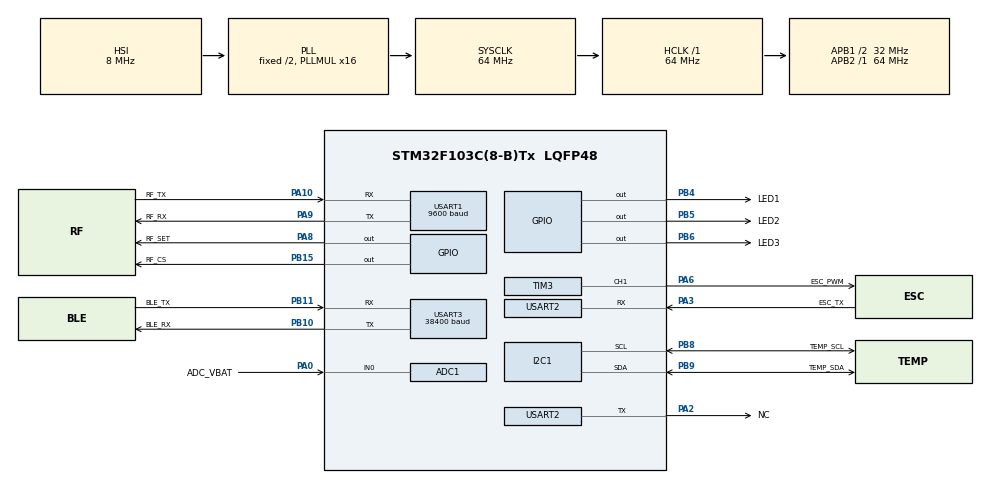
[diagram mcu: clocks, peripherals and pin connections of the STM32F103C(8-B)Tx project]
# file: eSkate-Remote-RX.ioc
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ADC1.Channel-0\#ChannelRegularConversion=ADC_CHANNEL_0
ADC1.ContinuousConvMode=DISABLE
ADC1.ExternalTrigConv=ADC_SOFTWARE_START
ADC1.NbrOfConversionFlag=1
ADC1.Rank-0\#ChannelRegularConversion=1
ADC1.SamplingTime-0\#ChannelRegularConversion=ADC_SAMPLETIME_55CYCLES_5
ADC1.master=1
Dma.Request0=USART3_TX
Dma.USART3_TX.0.Direction=DMA_MEMORY_TO_PERIPH
Dma.USART3_TX.0.Instance=DMA1_Channel2
Dma.USART3_TX.0.MemDataAlignment=DMA_MDATAALIGN_BYTE
Dma.USART3_TX.0.MemInc=DMA_MINC_ENABLE
Dma.USART3_TX.0.Mode=DMA_NORMAL
Dma.USART3_TX.0.PeriphDataAlignment=DMA_PDATAALIGN_BYTE
Dma.USART3_TX.0.PeriphInc=DMA_PINC_DISABLE
Dma.USART3_TX.0.Priority=DMA_PRIORITY_MEDIUM
FREERTOS.Queues01=adcQueue,1,uint16_t,0,Dynamic,NULL,NULL
FREERTOS.Tasks01=defaultTask,24,512,StartDefaultTask,Default,NULL,Dynamic,NULL,NULL;bluetoothTask,24,512,StartBluetoothTask,Default,NULL,Dynamic,NULL,NULL;radioTask,24,128,StartRadioTask,Default,NULL,Dynamic,NULL,NULL;telemetryTask,24,128,StartTelemetryTask,Default,NULL,Dynamic,NULL,NULL;i2cTask,24,128,StartI2cTask,Default,NULL,Dynamic,NULL,NULL;adcTask,24,256,StartAdcTask,Default,NULL,Dynamic,NULL,NULL
FREERTOS.configMAX_PRIORITIES=56
FREERTOS.configTOTAL_HEAP_SIZE=8192
FREERTOS.configUSE_PREEMPTION=1
FREERTOS.configUSE_STATS_FORMATTING_FUNCTIONS=1
FREERTOS.configUSE_TASK_NOTIFICATIONS=1
Mcu.Family=STM32F1
Mcu.Name=STM32F103C(8-B)Tx
Mcu.Package=LQFP48
NVIC.ADC1_2_IRQn=true\:5\:0\:false\:false\:true\:true\:true\:true
NVIC.DMA1_Channel2_IRQn=true\:5\:0\:false\:false\:true\:true\:false\:true
NVIC.PriorityGroup=NVIC_PRIORITYGROUP_4
NVIC.TIM1_UP_IRQn=true\:0\:0\:false\:false\:true\:false\:false\:true
NVIC.TimeBase=TIM1_UP_IRQn
NVIC.TimeBaseIP=TIM1
NVIC.USART3_IRQn=true\:5\:0\:false\:false\:true\:true\:true\:true
PA0-WKUP.GPIO_Label=ADC_VBAT
PA0-WKUP.Signal=ADCx_IN0
PA10.GPIO_Label=RF_TX
PA10.Mode=Asynchronous
PA10.Signal=USART1_RX
PA13.Mode=Serial_Wire
PA13.Signal=SYS_JTMS-SWDIO
PA14.Mode=Serial_Wire
PA14.Signal=SYS_JTCK-SWCLK
PA2.GPIO_Label=NC
PA2.Mode=Asynchronous
PA2.Signal=USART2_TX
PA3.GPIO_Label=ESC_TX
PA3.Mode=Asynchronous
PA3.Signal=USART2_RX
PA6.GPIO_Label=ESC_PWM
PA6.Signal=S_TIM3_CH1
PA8.GPIO_Label=RF_SET
PA8.Signal=GPIO_Output
PA9.GPIO_Label=RF_RX
PA9.Mode=Asynchronous
PA9.Signal=USART1_TX
PB10.GPIO_Label=BLE_RX
PB10.Mode=Asynchronous
PB10.Signal=USART3_TX
PB11.GPIO_Label=BLE_TX
PB11.Mode=Asynchronous
PB11.Signal=USART3_RX
PB15.GPIO_Label=RF_CS
PB15.Signal=GPIO_Output
PB4.GPIO_Label=LED1
PB4.Signal=GPIO_Output
PB5.GPIO_Label=LED2
PB5.Signal=GPIO_Output
PB6.GPIO_Label=LED3
PB6.Signal=GPIO_Output
PB8.GPIO_Label=TEMP_SCL
PB8.Mode=I2C
PB8.Signal=I2C1_SCL
PB9.GPIO_Label=TEMP_SDA
PB9.Mode=I2C
PB9.Signal=I2C1_SDA
ProjectManager.HeapSize=0x200
ProjectManager.StackSize=0x400
ProjectManager.TargetToolchain=STM32CubeIDE
RCC.ADCPresc=RCC_ADCPCLK2_DIV8
RCC.AHBFreq_Value=64000000
RCC.APB1CLKDivider=RCC_HCLK_DIV2
RCC.APB1Freq_Value=32000000
RCC.APB1TimFreq_Value=64000000
RCC.APB2Freq_Value=64000000
RCC.APB2TimFreq_Value=64000000
RCC.HCLKFreq_Value=64000000
RCC.PLLMUL=RCC_PLL_MUL16
RCC.SYSCLKFreq_VALUE=64000000
RCC.SYSCLKSource=RCC_SYSCLKSOURCE_PLLCLK
RCC.USBFreq_Value=64000000
SH.ADCx_IN0.0=ADC1_IN0,IN0
SH.S_TIM3_CH1.0=TIM3_CH1,PWM Generation1 CH1
TIM3.Channel-PWM\ Generation1\ CH1=TIM_CHANNEL_1
USART1.BaudRate=9600
USART1.VirtualMode=VM_ASYNC
USART1.WordLength=WORDLENGTH_8B
USART2.VirtualMode=VM_ASYNC
USART3.BaudRate=38400
USART3.VirtualMode=VM_ASYNC
VP_CRC_VS_CRC.Mode=CRC_Activate
VP_FREERTOS_VS_CMSIS_V2.Mode=CMSIS_V2
VP_SYS_VS_tim1.Mode=TIM1
VP_TIM3_VS_ClockSourceINT.Mode=Internal
board=eSkate-Remote-RX

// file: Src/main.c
/* USER CODE BEGIN Header */
/**
  ******************************************************************************
  * @file           : main.c
  * @brief          : Main program body
  ******************************************************************************
  * @attention
  *
  * <h2><center>&copy; Copyright (c) 2019 STMicroelectronics.
  * All rights reserved.</center></h2>
  *
  * This software component is licensed by ST under BSD 3-Clause license,
  * the "License"; You may not use this file except in compliance with the
  * License. You may obtain a copy of the License at:
  *                        opensource.org/licenses/BSD-3-Clause
  *
  ******************************************************************************
  */
/* USER CODE END Header */

#include "main.h"
#include "cmsis_os.h"

/* USER CODE BEGIN Includes */

#include "MLT-BT05.h"
#include "JDY40.h"
#include "queue.h"
#include "task.h"

#include <string.h>
#include <stdio.h>

#define __PWR_LED_ON		HAL_GPIO_WritePin(LED1_GPIO_Port, LED1_Pin, GPIO_PIN_SET)
#define __PWR_LED_OFF		HAL_GPIO_WritePin(LED1_GPIO_Port, LED1_Pin, GPIO_PIN_RESET)
#define __BLE_LED_ON		HAL_GPIO_WritePin(LED3_GPIO_Port, LED3_Pin, GPIO_PIN_SET)
#define __BLE_LED_OFF		HAL_GPIO_WritePin(LED3_GPIO_Port, LED3_Pin, GPIO_PIN_RESET)
#define __BLE_LED_TOGGLE	HAL_GPIO_TogglePin(LED3_GPIO_Port, LED3_Pin)
#define __RC_LED_ON			HAL_GPIO_WritePin(LED2_GPIO_Port, LED2_Pin, GPIO_PIN_SET)
#define __RC_LED_OFF		HAL_GPIO_WritePin(LED2_GPIO_Port, LED2_Pin, GPIO_PIN_RESET)
#define __RC_LED_TOGGLE		HAL_GPIO_TogglePin(LED2_GPIO_Port, LED2_Pin)

#define SOFTWARE_DEBUG

/* USER CODE END Includes */

ADC_HandleTypeDef hadc1;

CRC_HandleTypeDef hcrc;

I2C_HandleTypeDef hi2c1;

TIM_HandleTypeDef htim3;

UART_HandleTypeDef huart1;
UART_HandleTypeDef huart2;
UART_HandleTypeDef huart3;
DMA_HandleTypeDef hdma_usart3_tx;

/* Definitions for defaultTask */
osThreadId_t defaultTaskHandle;
const osThreadAttr_t defaultTask_attributes = {
  .name = "defaultTask",
  .priority = (osPriority_t) osPriorityNormal,
  .stack_size = 512
};
/* Definitions for bluetoothTask */
osThreadId_t bluetoothTaskHandle;
const osThreadAttr_t bluetoothTask_attributes = {
  .name = "bluetoothTask",
  .priority = (osPriority_t) osPriorityNormal,
  .stack_size = 512
};
/* Definitions for radioTask */
osThreadId_t radioTaskHandle;
const osThreadAttr_t radioTask_attributes = {
  .name = "radioTask",
  .priority = (osPriority_t) osPriorityNormal,
  .stack_size = 128
};
/* Definitions for telemetryTask */
osThreadId_t telemetryTaskHandle;
const osThreadAttr_t telemetryTask_attributes = {
  .name = "telemetryTask",
  .priority = (osPriority_t) osPriorityNormal,
  .stack_size = 128
};
/* Definitions for i2cTask */
osThreadId_t i2cTaskHandle;
const osThreadAttr_t i2cTask_attributes = {
  .name = "i2cTask",
  .priority = (osPriority_t) osPriorityNormal,
  .stack_size = 128
};
/* Definitions for adcTask */
osThreadId_t adcTaskHandle;
const osThreadAttr_t adcTask_attributes = {
  .name = "adcTask",
  .priority = (osPriority_t) osPriorityNormal,
  .stack_size = 256
};
/* Definitions for adcQueue */
osMessageQueueId_t adcQueueHandle;
const osMessageQueueAttr_t adcQueue_attributes = {
  .name = "adcQueue"
};
/* USER CODE BEGIN PV */

uint8_t radioIsConfigured = 0;
uint8_t bluetoothIsConfigured = 0;

uint32_t adcData = 0;

#ifdef SOFTWARE_DEBUG
#define USE_FULL_ASSERT
volatile int16_t freeMem = 0;
char dbgBuff[300] = {0};
#endif

/* USER CODE END PV */

void SystemClock_Config(void);
static void MX_GPIO_Init(void);
static void MX_DMA_Init(void);
static void MX_USART1_UART_Init(void);
static void MX_USART2_UART_Init(void);
static void MX_USART3_UART_Init(void);
static void MX_TIM3_Init(void);
static void MX_ADC1_Init(void);
static void MX_I2C1_Init(void);
static void MX_CRC_Init(void);
void StartDefaultTask(void *argument);
void StartBluetoothTask(void *argument);
void StartRadioTask(void *argument);
void StartTelemetryTask(void *argument);
void StartI2cTask(void *argument);
void StartAdcTask(void *argument);

/* USER CODE BEGIN 0 */

void HAL_ADC_ConvCpltCallback(ADC_HandleTypeDef* hadc) {
	adcData += HAL_ADC_GetValue(&hadc1);
}

/* USER CODE END 0 */

int main(void)
{

  /* MCU Configuration--------------------------------------------------------*/

  /* Reset of all peripherals, Initializes the Flash interface and the Systick. */
  HAL_Init();

  /* Configure the system clock */
  SystemClock_Config();

  /* Initialize all configured peripherals */
  MX_GPIO_Init();
  MX_DMA_Init();
  MX_USART1_UART_Init();
  MX_USART2_UART_Init();
  MX_USART3_UART_Init();
  MX_TIM3_Init();
  MX_ADC1_Init();
  MX_I2C1_Init();
  MX_CRC_Init();
  /* USER CODE BEGIN 2 */

  if (!JDY40_Configure())
	  radioIsConfigured = 1;

  if (!BT05_Configure()) {
	  HAL_Delay(5);
  	  BT05_GetAddress();
  	  bluetoothIsConfigured = 1;
  }

  radioIsConfigured = 0;

  /* USER CODE END 2 */
  /* Init scheduler */
  osKernelInitialize();

  /* Create the queue(s) */
  /* creation of adcQueue */
  adcQueueHandle = osMessageQueueNew (1, sizeof(uint16_t), &adcQueue_attributes);

  /* Create the thread(s) */
  /* creation of defaultTask */
  defaultTaskHandle = osThreadNew(StartDefaultTask, NULL, &defaultTask_attributes);

  /* creation of bluetoothTask */
  bluetoothTaskHandle = osThreadNew(StartBluetoothTask, NULL, &bluetoothTask_attributes);

  /* creation of radioTask */
  radioTaskHandle = osThreadNew(StartRadioTask, NULL, &radioTask_attributes);

  /* creation of telemetryTask */
  telemetryTaskHandle = osThreadNew(StartTelemetryTask, NULL, &telemetryTask_attributes);

  /* creation of i2cTask */
  i2cTaskHandle = osThreadNew(StartI2cTask, NULL, &i2cTask_attributes);

  /* creation of adcTask */
  adcTaskHandle = osThreadNew(StartAdcTask, NULL, &adcTask_attributes);

  /* Start scheduler */
  osKernelStart();

  /* We should never get here as control is now taken by the scheduler */

  /* Infinite loop */
  while (1)
  {

  }
}

void SystemClock_Config(void)
{
  RCC_OscInitTypeDef RCC_OscInitStruct = {0};
  RCC_ClkInitTypeDef RCC_ClkInitStruct = {0};
  RCC_PeriphCLKInitTypeDef PeriphClkInit = {0};

  /** Initializes the CPU, AHB and APB busses clocks
  */
  RCC_OscInitStruct.OscillatorType = RCC_OSCILLATORTYPE_HSI;
  RCC_OscInitStruct.HSIState = RCC_HSI_ON;
  RCC_OscInitStruct.HSICalibrationValue = RCC_HSICALIBRATION_DEFAULT;
  RCC_OscInitStruct.PLL.PLLState = RCC_PLL_ON;
  RCC_OscInitStruct.PLL.PLLSource = RCC_PLLSOURCE_HSI_DIV2;
  RCC_OscInitStruct.PLL.PLLMUL = RCC_PLL_MUL16;
  if (HAL_RCC_OscConfig(&RCC_OscInitStruct) != HAL_OK)
  {
    Error_Handler();
  }
  /** Initializes the CPU, AHB and APB busses clocks
  */
  RCC_ClkInitStruct.ClockType = RCC_CLOCKTYPE_HCLK|RCC_CLOCKTYPE_SYSCLK
                              |RCC_CLOCKTYPE_PCLK1|RCC_CLOCKTYPE_PCLK2;
  RCC_ClkInitStruct.SYSCLKSource = RCC_SYSCLKSOURCE_PLLCLK;
  RCC_ClkInitStruct.AHBCLKDivider = RCC_SYSCLK_DIV1;
  RCC_ClkInitStruct.APB1CLKDivider = RCC_HCLK_DIV2;
  RCC_ClkInitStruct.APB2CLKDivider = RCC_HCLK_DIV1;

  if (HAL_RCC_ClockConfig(&RCC_ClkInitStruct, FLASH_LATENCY_2) != HAL_OK)
  {
    Error_Handler();
  }
  PeriphClkInit.PeriphClockSelection = RCC_PERIPHCLK_ADC;
  PeriphClkInit.AdcClockSelection = RCC_ADCPCLK2_DIV8;
  if (HAL_RCCEx_PeriphCLKConfig(&PeriphClkInit) != HAL_OK)
  {
    Error_Handler();
  }
}

static void MX_ADC1_Init(void)
{

  ADC_ChannelConfTypeDef sConfig = {0};

  /** Common config
  */
  hadc1.Instance = ADC1;
  hadc1.Init.ScanConvMode = ADC_SCAN_DISABLE;
  hadc1.Init.ContinuousConvMode = DISABLE;
  hadc1.Init.DiscontinuousConvMode = DISABLE;
  hadc1.Init.ExternalTrigConv = ADC_SOFTWARE_START;
  hadc1.Init.DataAlign = ADC_DATAALIGN_RIGHT;
  hadc1.Init.NbrOfConversion = 1;
  if (HAL_ADC_Init(&hadc1) != HAL_OK)
  {
    Error_Handler();
  }
  /** Configure Regular Channel
  */
  sConfig.Channel = ADC_CHANNEL_0;
  sConfig.Rank = ADC_REGULAR_RANK_1;
  sConfig.SamplingTime = ADC_SAMPLETIME_55CYCLES_5;
  if (HAL_ADC_ConfigChannel(&hadc1, &sConfig) != HAL_OK)
  {
    Error_Handler();
  }

}

static void MX_CRC_Init(void)
{

  hcrc.Instance = CRC;
  if (HAL_CRC_Init(&hcrc) != HAL_OK)
  {
    Error_Handler();
  }

}

static void MX_I2C1_Init(void)
{

  hi2c1.Instance = I2C1;
  hi2c1.Init.ClockSpeed = 100000;
  hi2c1.Init.DutyCycle = I2C_DUTYCYCLE_2;
  hi2c1.Init.OwnAddress1 = 0;
  hi2c1.Init.AddressingMode = I2C_ADDRESSINGMODE_7BIT;
  hi2c1.Init.DualAddressMode = I2C_DUALADDRESS_DISABLE;
  hi2c1.Init.OwnAddress2 = 0;
  hi2c1.Init.GeneralCallMode = I2C_GENERALCALL_DISABLE;
  hi2c1.Init.NoStretchMode = I2C_NOSTRETCH_DISABLE;
  if (HAL_I2C_Init(&hi2c1) != HAL_OK)
  {
    Error_Handler();
  }

}

static void MX_TIM3_Init(void)
{

  TIM_ClockConfigTypeDef sClockSourceConfig = {0};
  TIM_MasterConfigTypeDef sMasterConfig = {0};
  TIM_OC_InitTypeDef sConfigOC = {0};

  htim3.Instance = TIM3;
  htim3.Init.Prescaler = 0;
  htim3.Init.CounterMode = TIM_COUNTERMODE_UP;
  htim3.Init.Period = 0;
  htim3.Init.ClockDivision = TIM_CLOCKDIVISION_DIV1;
  htim3.Init.AutoReloadPreload = TIM_AUTORELOAD_PRELOAD_DISABLE;
  if (HAL_TIM_Base_Init(&htim3) != HAL_OK)
  {
    Error_Handler();
  }
  sClockSourceConfig.ClockSource = TIM_CLOCKSOURCE_INTERNAL;
  if (HAL_TIM_ConfigClockSource(&htim3, &sClockSourceConfig) != HAL_OK)
  {
    Error_Handler();
  }
  if (HAL_TIM_PWM_Init(&htim3) != HAL_OK)
  {
    Error_Handler();
  }
  sMasterConfig.MasterOutputTrigger = TIM_TRGO_RESET;
  sMasterConfig.MasterSlaveMode = TIM_MASTERSLAVEMODE_DISABLE;
  if (HAL_TIMEx_MasterConfigSynchronization(&htim3, &sMasterConfig) != HAL_OK)
  {
    Error_Handler();
  }
  sConfigOC.OCMode = TIM_OCMODE_PWM1;
  sConfigOC.Pulse = 0;
  sConfigOC.OCPolarity = TIM_OCPOLARITY_HIGH;
  sConfigOC.OCFastMode = TIM_OCFAST_DISABLE;
  if (HAL_TIM_PWM_ConfigChannel(&htim3, &sConfigOC, TIM_CHANNEL_1) != HAL_OK)
  {
    Error_Handler();
  }
  HAL_TIM_MspPostInit(&htim3);

}

static void MX_USART1_UART_Init(void)
{

  huart1.Instance = USART1;
  huart1.Init.BaudRate = 9600;
  huart1.Init.WordLength = UART_WORDLENGTH_8B;
  huart1.Init.StopBits = UART_STOPBITS_1;
  huart1.Init.Parity = UART_PARITY_NONE;
  huart1.Init.Mode = UART_MODE_TX_RX;
  huart1.Init.HwFlowCtl = UART_HWCONTROL_NONE;
  huart1.Init.OverSampling = UART_OVERSAMPLING_16;
  if (HAL_UART_Init(&huart1) != HAL_OK)
  {
    Error_Handler();
  }

}

static void MX_USART2_UART_Init(void)
{

  huart2.Instance = USART2;
  huart2.Init.BaudRate = 115200;
  huart2.Init.WordLength = UART_WORDLENGTH_8B;
  huart2.Init.StopBits = UART_STOPBITS_1;
  huart2.Init.Parity = UART_PARITY_NONE;
  huart2.Init.Mode = UART_MODE_TX_RX;
  huart2.Init.HwFlowCtl = UART_HWCONTROL_NONE;
  huart2.Init.OverSampling = UART_OVERSAMPLING_16;
  if (HAL_UART_Init(&huart2) != HAL_OK)
  {
    Error_Handler();
  }

}

static void MX_USART3_UART_Init(void)
{

  huart3.Instance = USART3;
  huart3.Init.BaudRate = 38400;
  huart3.Init.WordLength = UART_WORDLENGTH_8B;
  huart3.Init.StopBits = UART_STOPBITS_1;
  huart3.Init.Parity = UART_PARITY_NONE;
  huart3.Init.Mode = UART_MODE_TX_RX;
  huart3.Init.HwFlowCtl = UART_HWCONTROL_NONE;
  huart3.Init.OverSampling = UART_OVERSAMPLING_16;
  if (HAL_UART_Init(&huart3) != HAL_OK)
  {
    Error_Handler();
  }

}

static void MX_DMA_Init(void)
{

  /* DMA controller clock enable */
  __HAL_RCC_DMA1_CLK_ENABLE();

  /* DMA interrupt init */
  /* DMA1_Channel2_IRQn interrupt configuration */
  HAL_NVIC_SetPriority(DMA1_Channel2_IRQn, 5, 0);
  HAL_NVIC_EnableIRQ(DMA1_Channel2_IRQn);

}

static void MX_GPIO_Init(void)
{
  GPIO_InitTypeDef GPIO_InitStruct = {0};

  /* GPIO Ports Clock Enable */
  __HAL_RCC_GPIOA_CLK_ENABLE();
  __HAL_RCC_GPIOB_CLK_ENABLE();

  /*Configure GPIO pin Output Level */
  HAL_GPIO_WritePin(GPIOB, RF_CS_Pin|LED1_Pin|LED2_Pin|LED3_Pin, GPIO_PIN_RESET);

  /*Configure GPIO pin Output Level */
  HAL_GPIO_WritePin(RF_SET_GPIO_Port, RF_SET_Pin, GPIO_PIN_RESET);

  /*Configure GPIO pins : RF_CS_Pin LED1_Pin LED2_Pin LED3_Pin */
  GPIO_InitStruct.Pin = RF_CS_Pin|LED1_Pin|LED2_Pin|LED3_Pin;
  GPIO_InitStruct.Mode = GPIO_MODE_OUTPUT_PP;
  GPIO_InitStruct.Pull = GPIO_NOPULL;
  GPIO_InitStruct.Speed = GPIO_SPEED_FREQ_LOW;
  HAL_GPIO_Init(GPIOB, &GPIO_InitStruct);

  /*Configure GPIO pin : RF_SET_Pin */
  GPIO_InitStruct.Pin = RF_SET_Pin;
  GPIO_InitStruct.Mode = GPIO_MODE_OUTPUT_PP;
  GPIO_InitStruct.Pull = GPIO_NOPULL;
  GPIO_InitStruct.Speed = GPIO_SPEED_FREQ_LOW;
  HAL_GPIO_Init(RF_SET_GPIO_Port, &GPIO_InitStruct);

}

void StartDefaultTask(void *argument)
{
  /* USER CODE BEGIN 5 */

	__PWR_LED_ON;

	/* Infinite loop */
	for(;;)
	{

#ifdef SOFTWARE_DEBUG
		freeMem = xPortGetFreeHeapSize();
		vTaskList(dbgBuff);

		uint16_t strBegin = 0;
		uint16_t strEnd = 0;
		uint8_t strToSend = {0};

//		for (uint16_t i=0; i<299; i++) {
//			if (dbgBuff[i] == 0)
//				break;
//
//		}

		osDelay(1999);
#endif

		osDelay(1);
	}
  /* USER CODE END 5 */
}

void StartBluetoothTask(void *argument)
{
  /* USER CODE BEGIN StartBluetoothTask */

	uint16_t vbat = 0;

	if (bluetoothIsConfigured)
		__BLE_LED_ON;

	/* Infinite loop */
	for(;;)
	{
		if (!bluetoothIsConfigured) {
			__BLE_LED_TOGGLE;
			osDelay(200);
			continue;
		}
		if (osMessageQueueGet(adcQueueHandle, &vbat, NULL, 0U) == osOK) {
			char vbatStr[15] = {0};
			sprintf(vbatStr, "Vbat = %d", vbat);
			BT05_UART_SendStringCRLF_DMA(vbatStr);
		}
		osDelay(500);
	}

  /* USER CODE END StartBluetoothTask */
}

void StartRadioTask(void *argument)
{
  /* USER CODE BEGIN StartRadioTask */

	if (radioIsConfigured)
		__RC_LED_ON;

	/* Infinite loop */
	for(;;)
	{
		if (!radioIsConfigured) {
			__RC_LED_TOGGLE;
			osDelay(200);
			continue;
		}

		osDelay(500);
	}

  /* USER CODE END StartRadioTask */
}

void StartTelemetryTask(void *argument)
{
  for(;;)
  {
    osDelay(1);
  }
}

void StartI2cTask(void *argument)
{
	for(;;)
	{
		osDelay(1);
	}
}

void StartAdcTask(void *argument)
{
  /* USER CODE BEGIN StartAdcTask */

	uint8_t adcCounter = 0;
	uint16_t adcResult = 0;

	/* Infinite loop */
	for(;;)
	{
		if (adcCounter < 49) {
			HAL_ADC_Start_IT(&hadc1);
			adcCounter++;
		}
		else {
			adcResult = adcData / adcCounter;
			osMessageQueuePut(adcQueueHandle, &adcResult, 0U, 0U);
			adcData = 0;
			adcCounter = 0;
		}
		osDelay(10);
	}

  /* USER CODE END StartAdcTask */
}

void HAL_TIM_PeriodElapsedCallback(TIM_HandleTypeDef *htim)
{
  if (htim->Instance == TIM1) {
    HAL_IncTick();
  }
}

void Error_Handler(void)
{
}

/************************ (C) COPYRIGHT STMicroelectronics *****END OF FILE****/
